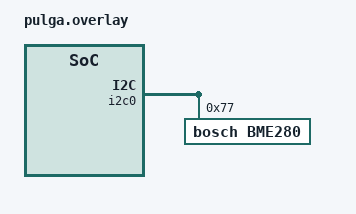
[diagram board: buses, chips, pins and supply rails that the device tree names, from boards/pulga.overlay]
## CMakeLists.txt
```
# SPDX-License-Identifier: Apache-2.0

cmake_minimum_required(VERSION 3.20.0)
list(APPEND SHIELD scd30)

find_package(Zephyr REQUIRED HINTS $ENV{ZEPHYR_BASE})
project(iotrees_calibration)

target_include_directories(app PRIVATE ${CMAKE_CURRENT_SOURCE_DIR}/src)

target_sources(app PRIVATE src/main.c
                    src/scd30/scd30_setup.c
                    src/bme280/bme280_setup.c)
```

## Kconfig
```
menu "Zephyr"
source "Kconfig.zephyr"
endmenu

module = CALIBRATION
module-str = CALIBRATION

source "subsys/logging/Kconfig.template.log_config"
```

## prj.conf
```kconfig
CONFIG_SENSOR=y
CONFIG_CBPRINTF_FP_SUPPORT=y

# Debug configurations
CONFIG_CALIBRATION_LOG_LEVEL_DBG=y
CONFIG_SENSOR_LOG_LEVEL_DBG=y
CONFIG_DEBUG_OPTIMIZATIONS=y
```

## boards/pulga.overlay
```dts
/**
* This piece of code activates the sensors internal to the board,
* connected to the CPU by I2C0 
*/
&i2c0 {
	/*Humidity, Pressure and Temperature Sensor*/
	bme280@77 {
		compatible = "bosch,bme280";
		reg = <0x77>;
		status = "okay";
	};
};
```

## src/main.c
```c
#include <stdio.h>
#include <scd30/scd30_setup.h>
#include <bme280/bme280_setup.h>

int main(void)
{
	init_scd30();
	init_bme280();
	
	int error = enable_scd30_low_power_mode();
	if (error)
	{
		printf("Error enabling SCD30 low power mode: %d\n", error);
		return error;
	}
	return 0;
}
```
